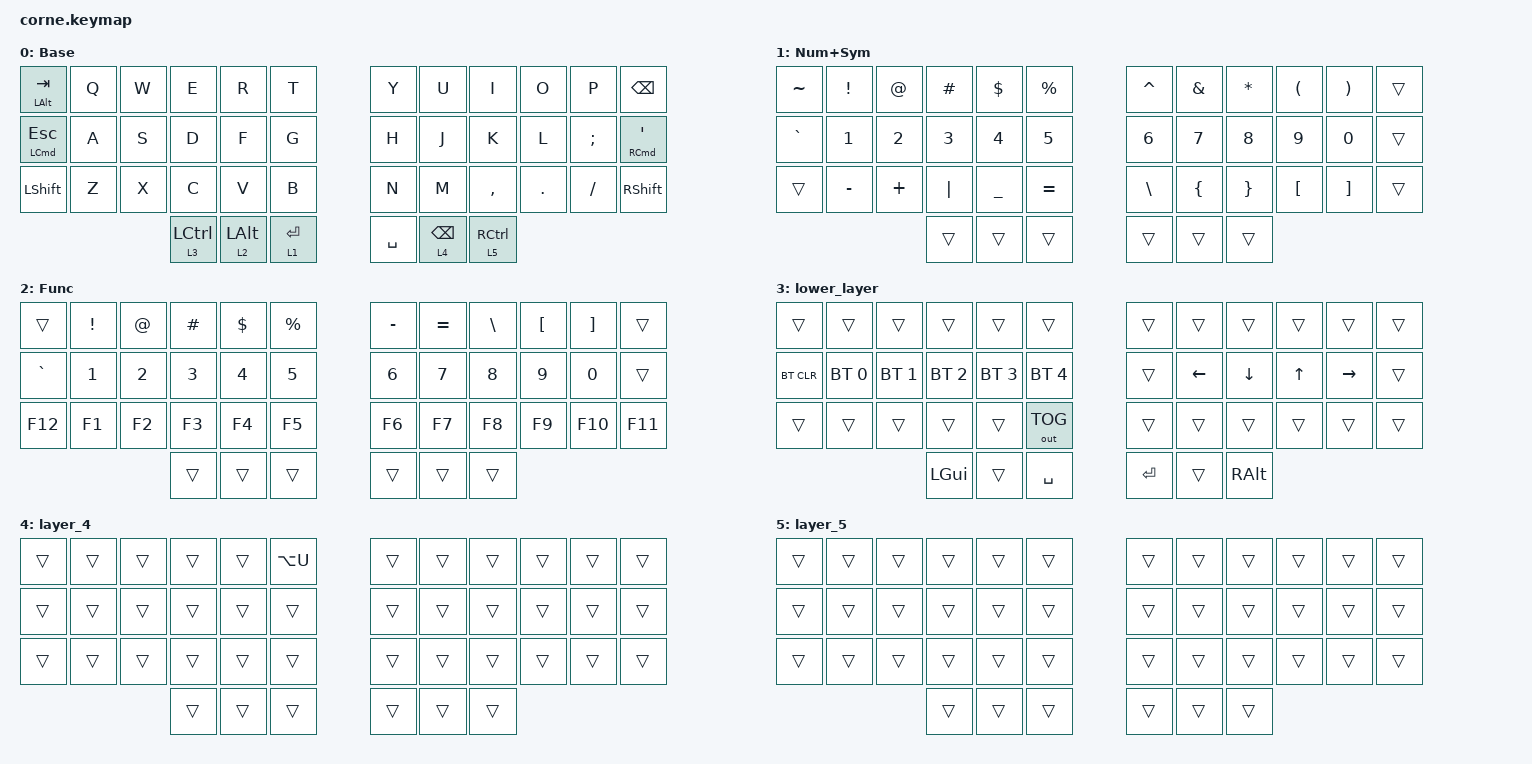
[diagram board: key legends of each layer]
/*
 * Copyright (c) 2020 The ZMK Contributors
 *
 * SPDX-License-Identifier: MIT
 */

#include <behaviors.dtsi>
#include <dt-bindings/zmk/bt.h>
#include <dt-bindings/zmk/keys.h>
#include <dt-bindings/zmk/outputs.h>

/ {
    keymap {
        compatible = "zmk,keymap";

        Base {
            // -----------------------------------------------------------------------------------------
            // |  TAB |  Q  |  W  |  E  |  R  |  T  |   |  Y  |  U   |  I  |  O  |  P  | BSPC |
            // |  ESC |  A  |  S  |  D  |  F  |  G  |   |  H  |  J   |  K  |  L  |  ;  |  '   |
            // | SHFT |  Z  |  X  |  C  |  V  |  B  |   |  N  |  M   |  ,  |  .  |  /  | ESC  |
            //                    | GUI | LWR | SPC |   | ENT | RSE  | ALT |

            bindings = <
&mt LEFT_ALT TAB         &kp Q  &kp W  &kp E               &kp R           &kp T          &kp Y      &kp U            &kp I                &kp O    &kp P     &kp BSPC
&mt LEFT_COMMAND ESCAPE  &kp A  &kp S  &kp D               &kp F           &kp G          &kp H      &kp J            &kp K                &kp L    &kp SEMI  &mt RIGHT_COMMAND SQT
&kp LSHFT                &kp Z  &kp X  &kp C               &kp V           &kp B          &kp N      &kp M            &kp COMMA            &kp DOT  &kp FSLH  &kp RIGHT_SHIFT
                                       &lt 3 LEFT_CONTROL  &lt 2 LEFT_ALT  &lt 1 ENTER    &kp SPACE  &lt 4 BACKSPACE  &lt 5 RIGHT_CONTROL
            >;
        };

        Num+Sym {
            bindings = <
&kp TILDE  &kp EXCLAMATION  &kp AT_SIGN   &kp HASH      &kp DOLLAR      &kp PERCENT     &kp CARET      &kp AMPERSAND   &kp ASTERISK     &kp LEFT_PARENTHESIS  &kp RIGHT_PARENTHESIS  &trans
&kp GRAVE  &kp NUMBER_1     &kp NUMBER_2  &kp NUMBER_3  &kp NUMBER_4    &kp NUMBER_5    &kp NUMBER_6   &kp NUMBER_7    &kp N8           &kp NUMBER_9          &kp NUMBER_0           &trans
&trans     &kp MINUS        &kp PLUS      &kp PIPE      &kp UNDERSCORE  &kp EQUAL       &kp BACKSLASH  &kp LEFT_BRACE  &kp RIGHT_BRACE  &kp LEFT_BRACKET      &kp RIGHT_BRACKET      &trans
                                          &trans        &trans          &trans          &trans         &trans          &trans
            >;
        };

        Func {
            bindings = <
&trans     &kp EXCLAMATION  &kp AT_SIGN   &kp HASH      &kp DOLLAR    &kp PERCENT     &kp MINUS     &kp EQUAL     &kp BACKSLASH  &kp LEFT_BRACKET  &kp RIGHT_BRACKET  &trans
&kp GRAVE  &kp NUMBER_1     &kp NUMBER_2  &kp NUMBER_3  &kp NUMBER_4  &kp NUMBER_5    &kp NUMBER_6  &kp NUMBER_7  &kp N8         &kp NUMBER_9      &kp NUMBER_0       &trans
&kp F12    &kp F1           &kp F2        &kp F3        &kp F4        &kp F5          &kp F6        &kp F7        &kp F8         &kp F9            &kp F10            &kp F11
                                          &trans        &trans        &trans          &trans        &trans        &trans
            >;
        };

        lower_layer {
            // -----------------------------------------------------------------------------------------
            // |  TAB |  1  |  2  |  3  |  4  |  5  |   |  6  |  7  |  8  |  9  |  0  | BSPC |
            // | BTCLR| BT1 | BT2 | BT3 | BT4 | BT5 |   | LFT | DWN |  UP | RGT |     |      |
            // | SHFT |     |     |     |     |     |   |     |     |     |     |     |      |
            //                    | GUI |     | SPC |   | ENT |     | ALT |

            bindings = <
&trans      &trans        &trans        &trans        &trans        &trans          &trans   &trans    &trans    &trans        &trans     &trans
&bt BT_CLR  &bt BT_SEL 0  &bt BT_SEL 1  &bt BT_SEL 2  &bt BT_SEL 3  &bt BT_SEL 4    &trans   &kp LEFT  &kp DOWN  &kp UP_ARROW  &kp RIGHT  &trans
&trans      &trans        &trans        &trans        &trans        &out OUT_TOG    &trans   &trans    &trans    &trans        &trans     &trans
                                        &kp LGUI      &trans        &kp SPACE       &kp RET  &trans    &kp RALT
            >;
        };

        layer_4 {
            bindings = <
&trans  &trans  &trans  &trans  &trans  &kp LA(U)    &trans  &trans  &trans  &trans  &trans  &trans
&trans  &trans  &trans  &trans  &trans  &trans       &trans  &trans  &trans  &trans  &trans  &trans
&trans  &trans  &trans  &trans  &trans  &trans       &trans  &trans  &trans  &trans  &trans  &trans
                        &trans  &trans  &trans       &trans  &trans  &trans
            >;
        };

        layer_5 {
            bindings = <
&trans  &trans  &trans  &trans  &trans  &trans    &trans  &trans  &trans  &trans  &trans  &trans
&trans  &trans  &trans  &trans  &trans  &trans    &trans  &trans  &trans  &trans  &trans  &trans
&trans  &trans  &trans  &trans  &trans  &trans    &trans  &trans  &trans  &trans  &trans  &trans
                        &trans  &trans  &trans    &trans  &trans  &trans
            >;
        };
    };
};
